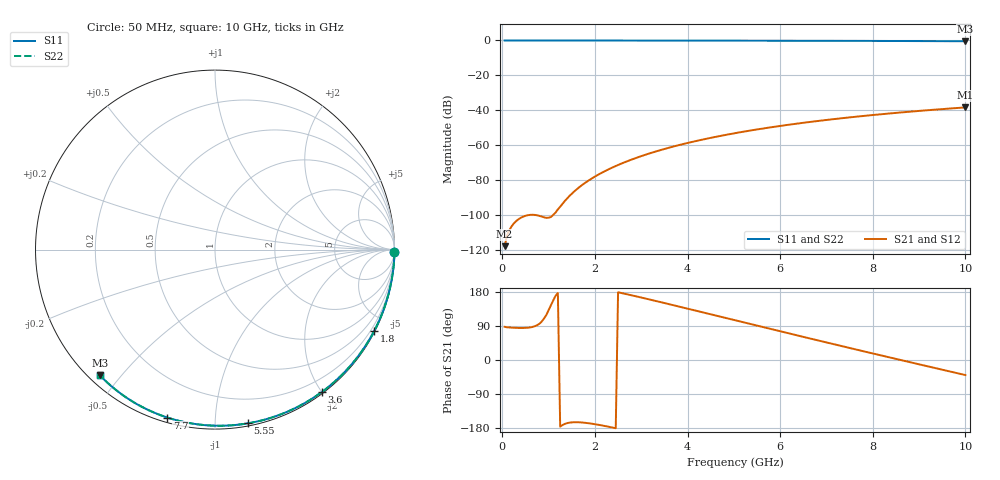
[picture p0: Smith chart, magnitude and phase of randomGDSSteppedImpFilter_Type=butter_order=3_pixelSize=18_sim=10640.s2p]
! freq	dB(S11)	phase(S11)	dB(S12)	phase(S12)
!  dB(S21)	phase(S21)	dB(S22)	phase(S22)
!S-par simulation data
#  GHz  S  DB  R 50
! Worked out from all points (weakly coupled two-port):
!   200 points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, 50 MHz to 10 GHz, reference 50 ohm
!   highest |S21| = -38.33 dB at 10 GHz (marker M1); lowest = -117.7 dB at 50 MHz (marker M2)
!   lowest |S11| = -0.4 dB at 10 GHz (marker M3), VSWR 38.76, Z = 1.54 - j22 ohm
!   |S11| at or under -10 dB: nowhere
!   |S22| runs from -0.4 to 0.0 dB; largest |S21 - S12| = 0
!   S11 on the Smith chart (normalised r, x): 50 MHz: open; 1.8 GHz: 0.04, -4.14; 3.6 GHz: 0.02, -2.00; 5.55 GHz: 0.02, -1.21; 7.7 GHz: 0.02, -0.76; 10 GHz: 0.03, -0.44
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0.05  -0.00 -0.8  -117.75 87.6  -117.75 87.6  -0.00 -0.8
0.9  -0.02 -13.7  -101.22 109.3  -101.22 109.3  -0.02 -13.7
1.75  -0.03 -26.4  -82.23 -165.2  -82.23 -165.2  -0.03 -26.4
1.8  -0.03 -27.1  -81.28 -165.9  -81.28 -165.9  -0.03 -27.1
1.85  -0.04 -27.9  -80.39 -166.6  -80.39 -166.6  -0.04 -27.9
1.9  -0.04 -28.6  -79.53 -167.5  -79.53 -167.5  -0.04 -28.6
2.05  -0.04 -30.8  -77.14 -170.4  -77.14 -170.4  -0.04 -30.8
2.25  -0.04 -33.8  -74.33 -175.0  -74.33 -175.0  -0.04 -33.8
2.45  -0.05 -36.7  -71.85 -180.0  -71.85 -180.0  -0.05 -36.7
2.65  -0.05 -39.6  -69.62 174.7  -69.62 174.7  -0.05 -39.6
3  -0.06 -44.6  -66.21 164.9  -66.21 164.9  -0.06 -44.6
3.4  -0.07 -50.3  -62.87 153.3  -62.87 153.3  -0.07 -50.3
3.6  -0.07 -53.1  -61.38 147.4  -61.38 147.4  -0.07 -53.1
4.3  -0.09 -62.7  -56.87 126.6  -56.87 126.6  -0.09 -62.7
5.05  -0.11 -72.7  -52.95 104.2  -52.95 104.2  -0.11 -72.7
5.55  -0.13 -79.2  -50.72 89.2  -50.72 89.2  -0.13 -79.2
6.1  -0.15 -86.3  -48.55 72.8  -48.55 72.8  -0.15 -86.3
6.7  -0.18 -93.7  -46.45 55.1  -46.45 55.1  -0.18 -93.7
7.7  -0.24 -105.8  -43.47 25.9  -43.47 25.9  -0.24 -105.8
8.35  -0.29 -113.5  -41.81 7.2  -41.81 7.2  -0.29 -113.5
9.15  -0.36 -122.7  -40.00 -15.7  -40.00 -15.7  -0.36 -122.7
10  -0.45 -132.5  -38.33 -39.7  -38.33 -39.7  -0.45 -132.5
